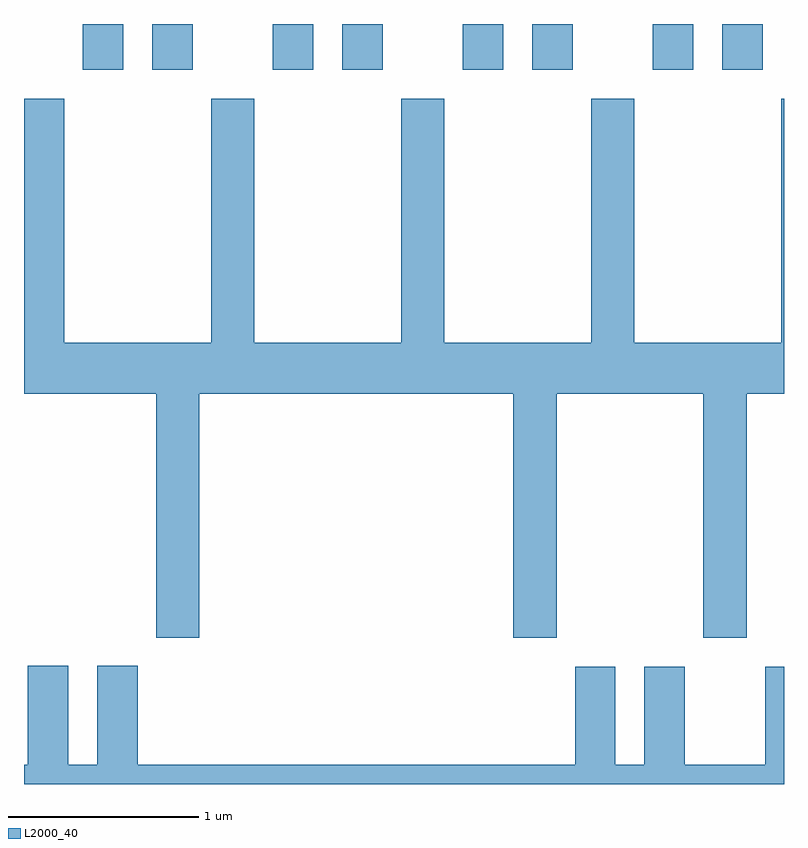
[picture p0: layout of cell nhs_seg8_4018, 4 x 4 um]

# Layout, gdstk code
import gdstk
lib = gdstk.Library(unit=1e-6, precision=1e-09)
def R(c, l, rs):  # rectangles x0, y0, x1, y1
    for r in rs: c.add(gdstk.rectangle(r[:2], r[2:], *l))
def P(c, l, *ps):  # polygons
    for p in ps: c.add(gdstk.Polygon(p, *l))
L2000_40 = (2000, 40)

nhs_seg8_4018 = lib.new_cell('nhs_seg8_4018')
R(nhs_seg8_4018, L2000_40, [(305.921,1858.101,306.134,1858.342), (306.286,1858.101,306.499,1858.342), (306.921,1858.101,307.134,1858.342), (307.286,1858.101,307.499,1858.342), (307.921,1858.101,308.134,1858.342), (308.286,1858.101,308.499,1858.342), (308.921,1858.101,309.134,1858.342), (309.286,1858.101,309.499,1858.342)])
P(nhs_seg8_4018, L2000_40, [(309.186,1855.111),(309.414,1855.111),(309.414,1856.396),(309.611,1856.396),(309.611,1857.949),(309.596,1857.949),(309.596,1856.664),(308.824,1856.664),(308.824,1857.949),(308.596,1857.949),(308.596,1856.664),(307.824,1856.664),(307.824,1857.949),(307.596,1857.949),(307.596,1856.664),(306.824,1856.664),(306.824,1857.949),(306.596,1857.949),(306.596,1856.664),(305.824,1856.664),(305.824,1857.949),(305.611,1857.949),(305.611,1856.396),(306.306,1856.396),(306.306,1855.111),(306.534,1855.111),(306.534,1856.396),(308.186,1856.396),(308.186,1855.111),(308.414,1855.111),(308.414,1856.396),(309.186,1856.396)],
  [(309.611,1854.959),(309.511,1854.959),(309.511,1854.444),(309.089,1854.444),(309.089,1854.959),(308.876,1854.959),(308.876,1854.444),(308.724,1854.444),(308.724,1854.959),(308.511,1854.959),(308.511,1854.444),(306.209,1854.444),(306.209,1854.964),(305.996,1854.964),(305.996,1854.444),(305.844,1854.444),(305.844,1854.964),(305.631,1854.964),(305.631,1854.444),(305.611,1854.444),(305.611,1854.342),(309.611,1854.342)])

lib.write_gds('nhs_seg8_4018.gds')
